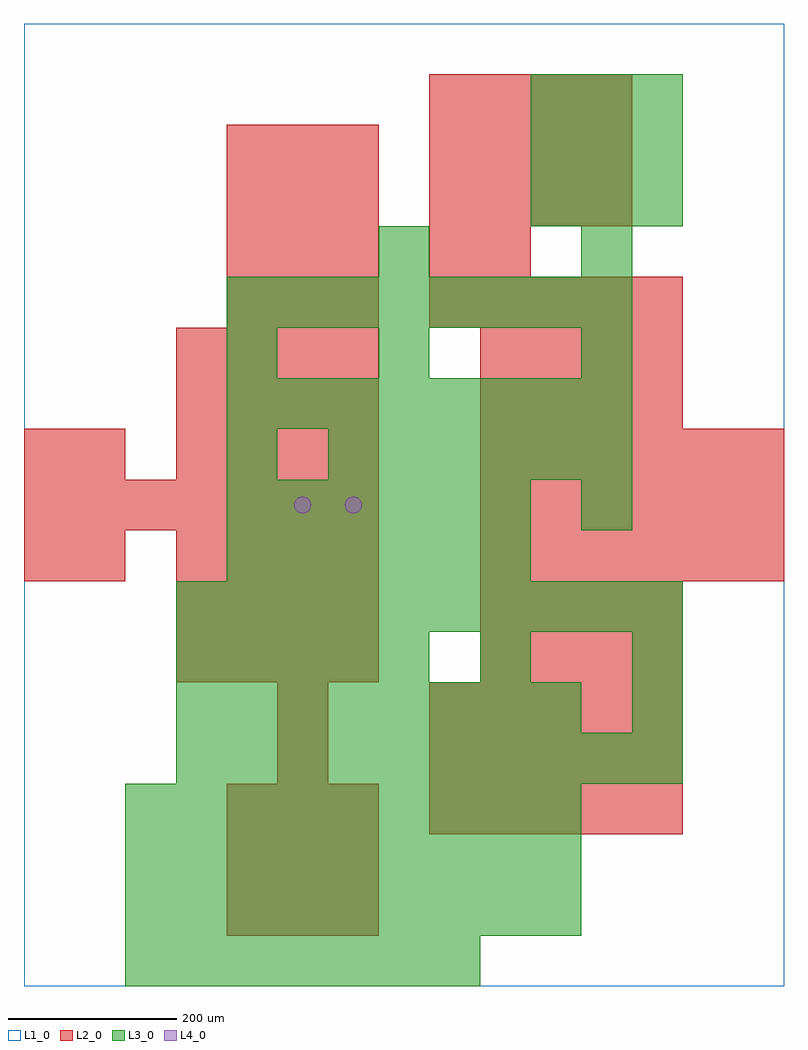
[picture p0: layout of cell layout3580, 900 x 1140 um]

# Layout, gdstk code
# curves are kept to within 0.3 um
import gdstk
lib = gdstk.Library(unit=1e-6, precision=1e-09)
def R(c, l, rs):  # rectangles x0, y0, x1, y1
    for r in rs: c.add(gdstk.rectangle(r[:2], r[2:], *l))
def A(c, l, x, y, w, h, nx, ny, dx, dy):  # array of equal rectangles
    R(c, l, [(x+i*dx, y+j*dy, x+i*dx+w, y+j*dy+h) for i in range(nx) for j in range(ny)])
def P(c, l, *ps):  # polygons
    for p in ps: c.add(gdstk.Polygon(p, *l))
L1_0 = (1, 0)
L2_0 = (2, 0)
L3_0 = (3, 0)
L4_0 = (4, 0)

layout3580 = lib.new_cell('layout3580')
R(layout3580, L1_0, [(0,0,900,1140)])
A(layout3580, L2_0, 240, 60, 60, 60, 3, 3, 60, 60)
A(layout3580, L2_0, 480, 180, 60, 60, 5, 3, 60, 60)
A(layout3580, L2_0, 180, 360, 60, 60, 4, 3, 60, 60)
A(layout3580, L2_0, 540, 360, 60, 60, 4, 2, 60, 60)
A(layout3580, L2_0, 540, 480, 60, 60, 6, 3, 60, 60)
A(layout3580, L2_0, 0, 540, 60, 60, 7, 1, 60, 0)
A(layout3580, L2_0, 180, 600, 60, 60, 4, 3, 60, 60)
A(layout3580, L2_0, 540, 660, 60, 60, 4, 2, 60, 60)
A(layout3580, L2_0, 240, 780, 60, 60, 3, 4, 60, 60)
A(layout3580, L2_0, 480, 780, 60, 60, 5, 1, 60, 0)
A(layout3580, L2_0, 480, 900, 60, 60, 4, 3, 60, 60)
R(layout3580, L2_0, [(300,240,360,300), (300,300,360,360), (0,480,60,540), (60,480,120,540), (0,600,60,660), (60,600,120,660), (480,840,540,900), (540,840,600,900)])
A(layout3580, L3_0, 120, 0, 60, 60, 7, 1, 60, 0)
A(layout3580, L3_0, 120, 60, 60, 60, 9, 3, 60, 60)
A(layout3580, L3_0, 180, 240, 60, 60, 10, 2, 60, 180)
A(layout3580, L3_0, 180, 300, 60, 60, 8, 1, 60, 0)
A(layout3580, L3_0, 180, 360, 60, 60, 5, 1, 60, 0)
A(layout3580, L3_0, 240, 480, 60, 60, 6, 2, 60, 60)
A(layout3580, L3_0, 360, 600, 60, 60, 6, 1, 60, 0)
A(layout3580, L3_0, 240, 660, 60, 60, 8, 2, 60, 120)
A(layout3580, L3_0, 600, 900, 60, 60, 3, 3, 60, 60)
R(layout3580, L3_0, [(720,300,780,360), (540,360,600,420), (720,360,780,420), (660,540,720,600), (240,600,300,660), (240,720,300,780), (420,720,480,780), (660,720,720,780), (420,840,480,900), (660,840,720,900)])
P(layout3580, L4_0, [(340,570),(339.239,573.827),(337.071,577.071),(333.827,579.239),(330,580),(326.173,579.239),(322.929,577.071),(320.761,573.827),(320,570),(320.761,566.173),(322.929,562.929),(326.173,560.761),(330,560),(333.827,560.761),(337.071,562.929),(339.239,566.173)],
  [(400,570),(399.239,573.827),(397.071,577.071),(393.827,579.239),(390,580),(386.173,579.239),(382.929,577.071),(380.761,573.827),(380,570),(380.761,566.173),(382.929,562.929),(386.173,560.761),(390,560),(393.827,560.761),(397.071,562.929),(399.239,566.173)])

lib.write_gds('layout3580.gds')
